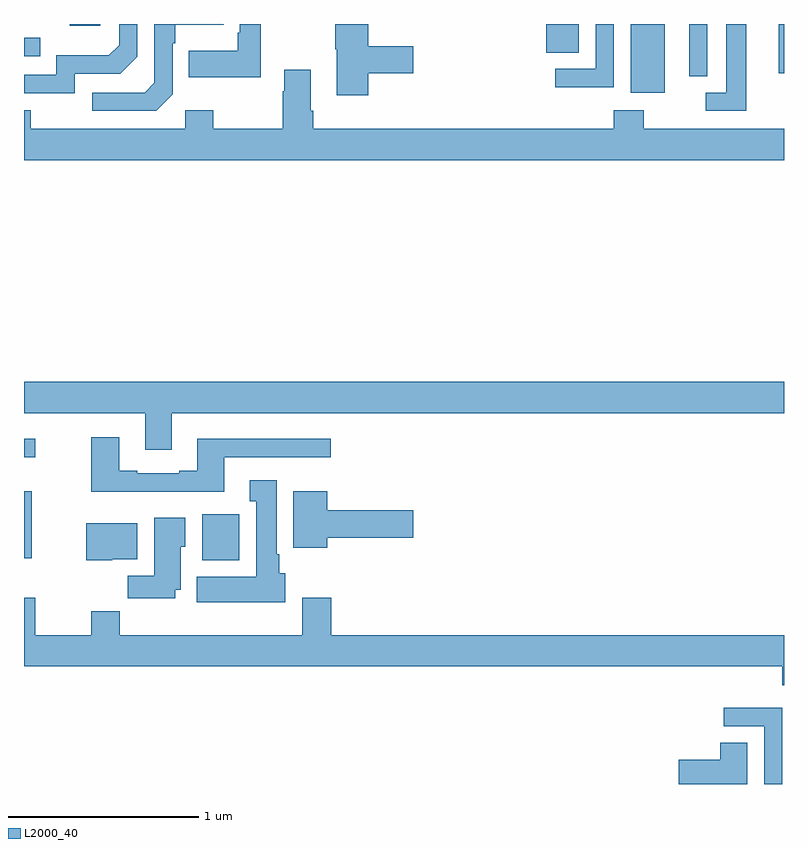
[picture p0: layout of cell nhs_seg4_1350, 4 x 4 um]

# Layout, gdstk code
import gdstk
lib = gdstk.Library(unit=1e-6, precision=1e-09)
def R(c, l, rs):  # rectangles x0, y0, x1, y1
    for r in rs: c.add(gdstk.rectangle(r[:2], r[2:], *l))
def P(c, l, *ps):  # polygons
    for p in ps: c.add(gdstk.Polygon(p, *l))
L2000_40 = (2000, 40)

nhs_seg4_1350 = lib.new_cell('nhs_seg4_1350')
R(nhs_seg4_1350, L2000_40, [(181.937,764.078,182.134,764.32), (181,764.088,181.042,764.44), (181,764.619,181.06,764.716), (184.193,766.538,184.372,766.899), (184.973,766.641,185,766.9), (181,766.731,181.085,766.827), (183.749,766.75,183.919,766.9), (181.241,766.892,181.402,766.9)])
P(nhs_seg4_1350, L2000_40, [(184.104,766.9),(184.008,766.9),(184.008,766.665),(183.795,766.665),(183.795,766.567),(184.104,766.567)],
  [(181.782,766.53),(181.782,766.799),(181.795,766.799),(181.795,766.895),(182.051,766.895),(182.051,766.9),(181.686,766.9),(181.686,766.59),(181.635,766.539),(181.359,766.539),(181.359,766.443),(181.695,766.443)],
  [(181.266,766.638),(181.506,766.638),(181.596,766.728),(181.596,766.9),(181.5,766.9),(181.5,766.788),(181.447,766.735),(181.17,766.735),(181.17,766.632),(181,766.632),(181,766.536),(181.266,766.536)],
  [(182.245,766.9),(182.136,766.9),(182.136,766.855),(182.124,766.855),(182.124,766.759),(181.867,766.759),(181.867,766.619),(182.245,766.619)],
  [(184.596,766.9),(184.502,766.9),(184.502,766.778),(184.5,766.778),(184.5,766.624),(184.596,766.624)],
  [(182.813,766.642),(183.049,766.642),(183.049,766.784),(182.813,766.784),(182.813,766.9),(182.638,766.9),(182.638,766.767),(182.645,766.767),(182.645,766.524),(182.813,766.524)],
  [(184.801,766.9),(184.697,766.9),(184.697,766.539),(184.587,766.539),(184.587,766.443),(184.801,766.443)],
  [(185,766.348),(184.263,766.348),(184.263,766.447),(184.103,766.447),(184.103,766.348),(182.522,766.348),(182.522,766.444),(182.509,766.444),(182.509,766.66),(182.369,766.66),(182.369,766.547),(182.362,766.547),(182.362,766.348),(181.995,766.348),(181.995,766.447),(181.848,766.447),(181.848,766.348),(181.035,766.348),(181.035,766.447),(181,766.447),(181,766.184),(185,766.184)],
  [(181.777,764.852),(185,764.852),(185,765.016),(181,765.016),(181,764.852),(181.637,764.852),(181.637,764.658),(181.777,764.658)],
  [(182.053,764.619),(182.614,764.619),(182.614,764.716),(181.913,764.716),(181.913,764.548),(181.817,764.548),(181.817,764.535),(181.597,764.535),(181.597,764.548),(181.501,764.548),(181.501,764.725),(181.354,764.725),(181.354,764.438),(182.053,764.438)],
  [(182.374,764.01),(182.344,764.01),(182.344,764.11),(182.329,764.11),(182.329,764.5),(182.189,764.5),(182.189,764.387),(182.222,764.387),(182.222,763.99),(181.91,763.99),(181.91,763.856),(182.374,763.856)],
  [(182.596,764.195),(183.049,764.195),(183.049,764.342),(182.596,764.342),(182.596,764.44),(182.417,764.44),(182.417,764.144),(182.596,764.144)],
  [(181.795,763.922),(181.825,763.922),(181.825,764.148),(181.849,764.148),(181.849,764.302),(181.685,764.302),(181.685,763.996),(181.546,763.996),(181.546,763.878),(181.795,763.878)],
  [(181.464,764.084),(181.597,764.084),(181.597,764.272),(181.328,764.272),(181.328,764.078),(181.464,764.078)],
  [(185,763.684),(182.618,763.684),(182.618,763.879),(182.465,763.879),(182.465,763.684),(181.505,763.684),(181.505,763.808),(181.354,763.808),(181.354,763.684),(181.059,763.684),(181.059,763.879),(181,763.879),(181,763.52),(184.991,763.52),(184.991,763.421),(185,763.421)],
  [(184.992,763.302),(184.683,763.302),(184.683,763.203),(184.896,763.203),(184.896,762.9),(184.992,762.9)],
  [(184.807,763.118),(184.664,763.118),(184.664,763.028),(184.446,763.028),(184.446,762.9),(184.807,762.9)])

lib.write_gds('nhs_seg4_1350.gds')
